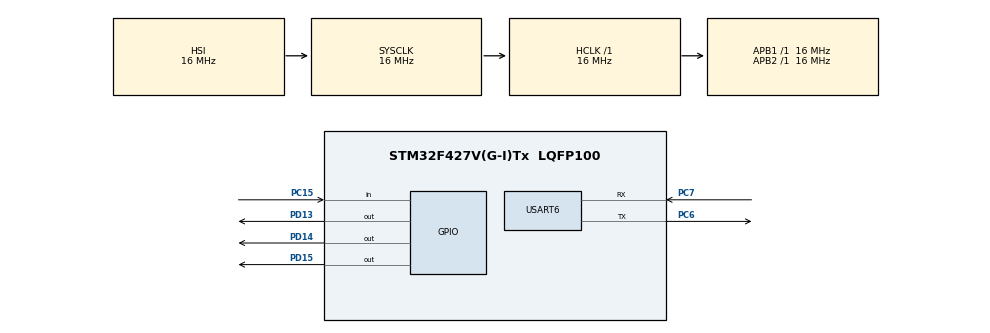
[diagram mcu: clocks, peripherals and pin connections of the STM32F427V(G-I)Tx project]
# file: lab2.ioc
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Mcu.Family=STM32F4
Mcu.Name=STM32F427V(G-I)Tx
Mcu.Package=LQFP100
NVIC.PriorityGroup=NVIC_PRIORITYGROUP_4
NVIC.USART6_IRQn=true\:0\:0\:false\:false\:true\:true\:true
PA13.Mode=JTAG_5_pins
PA13.Signal=SYS_JTMS-SWDIO
PA14.Mode=JTAG_5_pins
PA14.Signal=SYS_JTCK-SWCLK
PA15.Mode=JTAG_5_pins
PA15.Signal=SYS_JTDI
PB3.Mode=JTAG_5_pins
PB3.Signal=SYS_JTDO-SWO
PB4.Mode=JTAG_5_pins
PB4.Signal=SYS_JTRST
PC15/OSC32_OUT.Signal=GPIO_Input
PC6.Mode=Asynchronous
PC6.Signal=USART6_TX
PC7.Mode=Asynchronous
PC7.Signal=USART6_RX
PD13.Signal=GPIO_Output
PD14.Signal=GPIO_Output
PD15.Signal=GPIO_Output
ProjectManager.HeapSize=0x200
ProjectManager.StackSize=0x400
ProjectManager.TargetToolchain=STM32CubeIDE
RCC.AHBFreq_Value=16000000
RCC.APB1Freq_Value=16000000
RCC.APB2Freq_Value=16000000
RCC.CortexFreq_Value=16000000
RCC.HSE_VALUE=25000000
RCC.HSI_VALUE=16000000
RCC.LSE_VALUE=32768
RCC.SYSCLKFreq_VALUE=16000000
RCC.VCOOutputFreq_Value=192000000
USART6.VirtualMode=VM_ASYNC
board=custom

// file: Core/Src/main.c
/* USER CODE BEGIN Header */
/**
 ******************************************************************************
 * @file           : main.c
 * @brief          : Main program body
 ******************************************************************************
 * @attention
 *
 * <h2><center>&copy; Copyright (c) 2021 STMicroelectronics.
 * All rights reserved.</center></h2>
 *
 * This software component is licensed by ST under BSD 3-Clause license,
 * the "License"; You may not use this file except in compliance with the
 * License. You may obtain a copy of the License at:
 *                        opensource.org/licenses/BSD-3-Clause
 *
 ******************************************************************************
 */
/* USER CODE END Header */
#include "main.h"
#include "usart.h"
#include "gpio.h"

/* USER CODE BEGIN Includes */

#include <stdint.h>
#include <string.h>
#include <ctype.h>

/* USER CODE END Includes */

/* USER CODE BEGIN PTD */

typedef struct
{
  uint8_t length;
  char value[8];
  uint8_t is_correct;
  uint8_t current_pos;
  uint8_t number_of_mistakes;
  uint32_t input_time_start;
  uint32_t input_time_limit;
} Password;

typedef enum
{
  INPUT_CHANGE_PASS_COMMAND = 0,
  INPUT_LOWERCASE_ALPHA = 1,
  INPUT_UPPERCASE_ALPHA = 2,
  INPUT_ENTER = 3,
  INPUT_UNKNOWN = 4
} INPUT_TYPE;

typedef enum
{
  PASSWORD_CHANGE_NONE = 0,
  PASSWORD_CHANGE_INPUT = 1,
  PASSWORD_CHANGE_CONFIRM = 2
} PASSWORD_CHANGE_STATE;

/* USER CODE END PTD */

/* USER CODE BEGIN PD */

#define MAX_PASSWORD_LEN 8

#define DEFAULT_PASSWORD "password"
#define DEFAULT_PASSWORD_LEN strlen(DEFAULT_PASSWORD)

#define ERR_PASS_EMPTY "\r\nPassword must have at least 1 character\r\n"
#define MSG_CONFIRM_PASS "\r\nApply new password (y/n)? [n] "
#define MSG_PASS_CHANGED "\r\nPassword has been changed\r\n"
#define MSG_PASS_UNCHANGED "\r\nPassword has not been changed\r\n"
#define MSG_ENTER_NEW_PASS "\r\nNew password>"
#define MSG_INTERRUPT_MODE_ENABLED "\r\nInterrupt mode - on\r\n"
#define MSG_INTERRUPT_MODE_DISABLED "\r\nInterrupt mode - off\r\n"

#define COM_CHANGE_PASS '+'

/* USER CODE END PD */

/* USER CODE BEGIN PM */

#define MIN_SEC_TO_MS(minutes, seconds) ((minutes) * 60 * 1000 + (seconds) * 1000)

/* USER CODE END PM */

/* USER CODE BEGIN PV */

char init_password_value[8];
uint8_t init_password_len;

char new_password_value[8];
uint8_t new_password_len;

const uint32_t DEFAULT_PASSWORD_INPUT_TIME_LIMIT = MIN_SEC_TO_MS(1, 0);

uint8_t char_readed = 0;
uint8_t char_written = 0;

uint8_t interruption_mode_enabled = 0;
PASSWORD_CHANGE_STATE password_change_mode = 0;

/* USER CODE END PV */

void SystemClock_Config(void);

/* USER CODE BEGIN 0 */

void blink_yellow()
{
  for (uint8_t i = 0; i < 10; i++)
  {
    HAL_GPIO_TogglePin(GPIOD, GPIO_PIN_14);
    HAL_Delay(50);
  }
}

void blink_red()
{
  for (uint8_t i = 0; i < 10; i++)
  {
    HAL_GPIO_TogglePin(GPIOD, GPIO_PIN_15);
    HAL_Delay(50);
  }
}

void light_red()
{
  HAL_GPIO_WritePin(GPIOD, GPIO_PIN_15, GPIO_PIN_SET);
  HAL_GPIO_WritePin(GPIOD, GPIO_PIN_14, GPIO_PIN_RESET);
  HAL_Delay(MIN_SEC_TO_MS(0, 2));
  HAL_GPIO_WritePin(GPIOD, GPIO_PIN_15, GPIO_PIN_RESET);
}

void light_green()
{
  HAL_GPIO_WritePin(GPIOD, GPIO_PIN_13, GPIO_PIN_SET);
  HAL_Delay(MIN_SEC_TO_MS(0, 2));
  HAL_GPIO_WritePin(GPIOD, GPIO_PIN_13, GPIO_PIN_RESET);
}

void send_msg(const char *msg, uint8_t msg_len)
{
  if (msg_len == 0)
    msg_len = strlen(msg);

  if (interruption_mode_enabled){
	char_written = 0;
    HAL_UART_Transmit_IT(&huart6, msg, msg_len);
	while (!char_written);
  }

  else
    HAL_UART_Transmit(&huart6, msg, msg_len, MIN_SEC_TO_MS(0, 5));
}

uint8_t is_password_input_time_expired(Password *password)
{
  return HAL_GetTick() > (password->input_time_start + password->input_time_limit);
}

char read_input(Password *password)
{
  static uint8_t btn_pressed = 0;
  char_readed = 0;
  char c;

  while (!char_readed)
  {
    if (interruption_mode_enabled)
    {
      HAL_UART_Receive_IT(&huart6, &c, 1);
    }
    else
    {
      HAL_StatusTypeDef status = HAL_UART_Receive(&huart6, &c, 1, MIN_SEC_TO_MS(0, 1));
      if (status == HAL_OK)
        char_readed = 1;
    }

    //Кнопка нажата и нажатие еще не зафиксировано (reset-низкий уровень)
    if (HAL_GPIO_ReadPin(GPIOC, GPIO_PIN_15) == GPIO_PIN_RESET && !btn_pressed)
    {
      btn_pressed = 1;
      interruption_mode_enabled = !interruption_mode_enabled;
      if (interruption_mode_enabled)
        send_msg(MSG_INTERRUPT_MODE_ENABLED, 0);
      else
        send_msg(MSG_INTERRUPT_MODE_DISABLED, 0);
    }
    //нажатие было зафиксировано и кнопка отпущена
    else if (HAL_GPIO_ReadPin(GPIOC, GPIO_PIN_15) == GPIO_PIN_SET && btn_pressed)
      btn_pressed = 0;

    //Пользователь слишком долго вводит пароль -> сброс прогресса
    if (!password_change_mode && is_password_input_time_expired(password))
      init_password(password);
  }

  return c;
}

void HAL_UART_RxCpltCallback(UART_HandleTypeDef *huart)
{
  char_readed = 1;
}

void HAL_UART_TxCpltCallback(UART_HandleTypeDef *huart)
{
	char_written = 1;
}

INPUT_TYPE input_type(char val)
{
  if (val == COM_CHANGE_PASS)
    return INPUT_CHANGE_PASS_COMMAND;

  if (val == '\r')
    return INPUT_ENTER;

  if (val >= 'a' && val <= 'z')
    return INPUT_LOWERCASE_ALPHA;

  if (val >= 'A' && val <= 'Z')
    return INPUT_UPPERCASE_ALPHA;

  return INPUT_UNKNOWN;
}

void init_password(Password *password)
{
  memcpy(password->value, init_password_value, init_password_len);
  password->length = init_password_len;
  password->current_pos = 0;
  password->is_correct = 0;
  password->number_of_mistakes = 0;
  password->input_time_start = HAL_GetTick();
  password->input_time_limit = DEFAULT_PASSWORD_INPUT_TIME_LIMIT;
}

void reset_number_of_mistakes(Password *password)
{
  password->number_of_mistakes = 0;
}

void process_password(Password *password, char val)
{
  uint32_t pass = password->value[password->current_pos] == val;
  if (pass)
    password->current_pos++;
  else
    password->current_pos = 0;

  if (password->current_pos == password->length)
    password->is_correct = 1;
}

void finish_password_change(Password *password, char val)
{
  if (val == 0)
  {
    password_change_mode = PASSWORD_CHANGE_CONFIRM;
    send_msg(MSG_CONFIRM_PASS, 0);
    return;
  }

  if (val == 'y')
  {
    password_change_mode = PASSWORD_CHANGE_NONE;

    if (new_password_len < 1)
    {
      send_msg(ERR_PASS_EMPTY, 0);
      return;
    }

    memcpy(init_password_value, new_password_value, MAX_PASSWORD_LEN);
    init_password_len = new_password_len;
    init_password(password);

    send_msg(MSG_PASS_CHANGED, 0);
  }
  else
  {
    password_change_mode = PASSWORD_CHANGE_NONE;

    send_msg(MSG_PASS_UNCHANGED, 0);
  }
}

void process_password_change(Password *password, char val)
{
  if (new_password_len <= MAX_PASSWORD_LEN)
    new_password_value[new_password_len++] = val;

  if (new_password_len > MAX_PASSWORD_LEN)
    finish_password_change(password, 0);
}

void check_password(Password *password)
{
  if (password->is_correct)
  {
    light_green();
    init_password(password);
    return;
  }
  if (password->current_pos == 0)
  {
    password->number_of_mistakes += 1;
    if (password->number_of_mistakes == 3)
    {
      light_red();
      reset_number_of_mistakes(password);
    }
    else
      blink_red();
  }
  else
    blink_yellow();
}

/* USER CODE END 0 */

int main(void)
{

  /* MCU Configuration--------------------------------------------------------*/

  /* Reset of all peripherals, Initializes the Flash interface and the Systick. */
  HAL_Init();

  /* Configure the system clock */
  SystemClock_Config();

  /* Initialize all configured peripherals */
  MX_GPIO_Init();
  MX_USART6_UART_Init();
  /* USER CODE BEGIN 2 */
  Password password = {};
  memcpy(init_password_value, DEFAULT_PASSWORD, DEFAULT_PASSWORD_LEN);
  init_password_len = DEFAULT_PASSWORD_LEN;

  init_password(&password);

  interruption_mode_enabled = 0;
  password_change_mode = PASSWORD_CHANGE_NONE;

  /* USER CODE END 2 */

  /* Infinite loop */
  while (1)
  {

    /* USER CODE BEGIN 3 */

    char val = read_input(&password);
    send_msg(&val, 1);
    switch (input_type(val))
    {
    case INPUT_CHANGE_PASS_COMMAND:
      if (password_change_mode == PASSWORD_CHANGE_NONE)
      {
        password_change_mode = PASSWORD_CHANGE_INPUT;

        memset(new_password_value, 0, MAX_PASSWORD_LEN);
        new_password_len = 0;

        send_msg(MSG_ENTER_NEW_PASS, 0);

      }
      break;

    case INPUT_UPPERCASE_ALPHA:
      val -= ('A' - 'a');
    case INPUT_LOWERCASE_ALPHA:
      switch (password_change_mode)
      {
      case PASSWORD_CHANGE_NONE:
        process_password(&password, val);
        check_password(&password);
        break;
      case PASSWORD_CHANGE_INPUT:
        process_password_change(&password, val);
        break;
      case PASSWORD_CHANGE_CONFIRM:
        finish_password_change(&password, val);
        break;
      }
     break;

    case INPUT_ENTER:
      if (password_change_mode == PASSWORD_CHANGE_INPUT)
        finish_password_change(&password, 0);
      break;
    case INPUT_UNKNOWN:
    	break;
    }
  }
  /* USER CODE END 3 */
}

void SystemClock_Config(void)
{
  RCC_OscInitTypeDef RCC_OscInitStruct = {0};
  RCC_ClkInitTypeDef RCC_ClkInitStruct = {0};

  /** Configure the main internal regulator output voltage
  */
  __HAL_RCC_PWR_CLK_ENABLE();
  __HAL_PWR_VOLTAGESCALING_CONFIG(PWR_REGULATOR_VOLTAGE_SCALE1);
  /** Initializes the RCC Oscillators according to the specified parameters
  * in the RCC_OscInitTypeDef structure.
  */
  RCC_OscInitStruct.OscillatorType = RCC_OSCILLATORTYPE_HSI;
  RCC_OscInitStruct.HSIState = RCC_HSI_ON;
  RCC_OscInitStruct.HSICalibrationValue = RCC_HSICALIBRATION_DEFAULT;
  RCC_OscInitStruct.PLL.PLLState = RCC_PLL_NONE;
  if (HAL_RCC_OscConfig(&RCC_OscInitStruct) != HAL_OK)
  {
    Error_Handler();
  }
  /** Initializes the CPU, AHB and APB buses clocks
  */
  RCC_ClkInitStruct.ClockType = RCC_CLOCKTYPE_HCLK|RCC_CLOCKTYPE_SYSCLK
                              |RCC_CLOCKTYPE_PCLK1|RCC_CLOCKTYPE_PCLK2;
  RCC_ClkInitStruct.SYSCLKSource = RCC_SYSCLKSOURCE_HSI;
  RCC_ClkInitStruct.AHBCLKDivider = RCC_SYSCLK_DIV1;
  RCC_ClkInitStruct.APB1CLKDivider = RCC_HCLK_DIV1;
  RCC_ClkInitStruct.APB2CLKDivider = RCC_HCLK_DIV1;

  if (HAL_RCC_ClockConfig(&RCC_ClkInitStruct, FLASH_LATENCY_0) != HAL_OK)
  {
    Error_Handler();
  }
}

void Error_Handler(void)
{
  __disable_irq();
  while (1)
  {
  }
}

/************************ (C) COPYRIGHT STMicroelectronics *****END OF FILE****/
